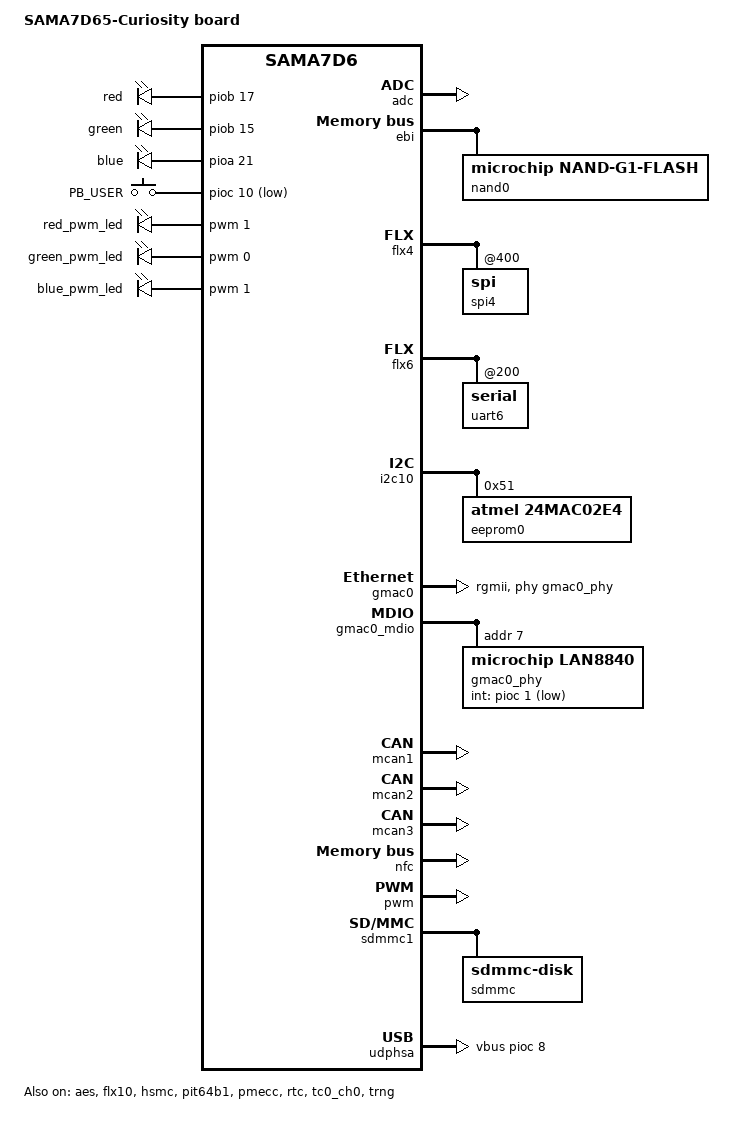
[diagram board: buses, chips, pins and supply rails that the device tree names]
/*
 * Copyright (C) 2025-2026 Microchip Technology Inc. and its subsidiaries
 *
 * SPDX-License-Identifier: Apache-2.0
 *
 */

/dts-v1/;
#include <common/freq.h>
#include <zephyr/dt-bindings/adc/adc.h>
#include <zephyr/dt-bindings/gpio/gpio.h>
#include <zephyr/dt-bindings/input/input-event-codes.h>
#include <zephyr/dt-bindings/mfd/mfd_mchp_sam_flexcom.h>
#include <zephyr/dt-bindings/pwm/pwm.h>
#include <dt-bindings/sam/sama7d6/sama7d65/sama7d65-pinctrl.h>
#include <microchip/sam/sama7/sama7d6/sama7d65.dtsi>

/ {
	model = "SAMA7D65-Curiosity board";
	compatible = "microchip,sama7d65curiosity", "microchip,sama7d6", "microchip,sama7";

	aliases {
		adc0 = &adc;
		eeprom-0 = &eeprom0;
		led0 = &led_blue;
		pwm-0 = &pwm;
		pwm-led0 = &green_pwm_led;
		pwm-test = &pwm;
		sdhc0 = &sdmmc1;
		sw0 = &button_user;
	};

	chosen {
		zephyr,sram = &ddram;
		zephyr,canbus = &mcan1;
		zephyr,console = &uart6;
		zephyr,shell-uart = &uart6;
		zephyr,system-timer = &pit64b0;
	};

	clocks {
		main_xtal {
			clock-frequency = <DT_FREQ_M(24)>;
		};

		slow_xtal {
			clock-frequency = <32768>;
		};
	};

	ddram: ddram@60000000 {
		compatible = "ddram";
		reg = <0x60000000 DT_SIZE_M(1024)>;
	};

	leds {
		compatible = "gpio-leds";
		status = "okay";

		led_red: red {
			label = "red";
			gpios = <&piob 17 GPIO_ACTIVE_HIGH>;
		};

		led_green: green {
			label = "green";
			gpios = <&piob 15 GPIO_ACTIVE_HIGH>;
		};

		led_blue: blue {
			label = "blue";
			gpios = <&pioa 21 GPIO_ACTIVE_HIGH>;
		};
	};

	gpio_keys {
		compatible = "gpio-keys";
		status = "okay";

		button_user: button_sw2 {
			label = "PB_USER";
			gpios = <&pioc 10 GPIO_ACTIVE_LOW>;
			zephyr,code = <INPUT_KEY_0>;
		};
	};

	pwmleds: pwmleds {
		compatible = "pwm-leds";

		red_pwm_led: red_pwm_led {
			pwms = <&pwm 1 PWM_MSEC(20) PWM_POLARITY_INVERTED>;
		};

		green_pwm_led: green_pwm_led {
			pwms = <&pwm 0 PWM_MSEC(20) PWM_POLARITY_INVERTED>;
		};

		blue_pwm_led: blue_pwm_led {
			pwms = <&pwm 1 PWM_MSEC(20) PWM_POLARITY_INVERTED>;
		};
	};
};

&adc {
	pinctrl-names = "default";
	pinctrl-0 = <&pinctrl_mikrobus_an_default>;
	status = "okay";
};

&aes {
	status = "okay";
};

&ebi {
	pinctrl-names = "default";
	pinctrl-0 = <&pinctrl_nand_default>;
	status = "okay";

	cs0: cs@40000000 {
		reg = <0x0 0x0 0x800000>;
		smc-tdf-mode;
		smc-write-mode = "nwe";
		smc-read-mode = "nrd";
		smc-bus-width = "8-bit";
		smc-setup-timing = <4 0 0 0>;
		smc-pulse-timing = <10 20 10 20>;
		smc-cycle-timing = <20 20>;
		nfc-timings-nfsel;
		nfc-timings-twb = <8>;
		nfc-timings-trr = <8>;
		nfc-timings-tar = <5>;
		nfc-timings-tadl = <15>;
		nfc-timings-tclr = <4>;
		status = "okay";

		nand0: nandflash {
			compatible = "microchip,nand-g1-flash";
			nand-controller = <&nfc>;
			cs-gpios = <&pioa 13 GPIO_ACTIVE_LOW>;
			status = "okay";

			/* Micron MT29F4G08ABAEA 512MB */
			nand_id0: mt29f4g08abaea {
				nand-id = [2c dc];
				nand-page-size = <4096>;
				nand-oob-size = <224>;
				nand-block-pages = <64>;
				nand-block-count = <2048>;
				nand-ecc-bits = <8>;
				nand-ecc-sector = <512>;
			};

			/* Winbond W29N01HV 128MB */
			nand_id1: w29n01hv {
				nand-id = [ef f1];
				nand-page-size = <2048>;
				nand-oob-size = <64>;
				nand-block-pages = <64>;
				nand-block-count = <1024>;
				nand-ecc-bits = <1>;
				nand-ecc-sector = <512>;
			};

			/* Macronix MX30LF4G28AD 512MB */
			nand_id2: mx30lf4g28ad {
				nand-id = [c2 dc];
				nand-page-size = <4096>;
				nand-oob-size = <256>;
				nand-block-pages = <64>;
				nand-block-count = <2048>;
				nand-ecc-bits = <8>;
				nand-ecc-sector = <512>;
			};
		};
	};
};

&flx4 {
	mchp,flexcom-mode = <SAM_FLEXCOM_MODE_SPI>;
	status = "okay";

	spi4: spi@400 {
		pinctrl-names = "default";
		pinctrl-0 = <&pinctrl_spi4_default>;
		cs-gpios = <&pioa 15 GPIO_ACTIVE_LOW>, <&pioa 14 GPIO_ACTIVE_LOW>;
		status = "okay";
	};
};

&flx6 {
	mchp,flexcom-mode = <SAM_FLEXCOM_MODE_USART>;
	status = "okay";

	uart6: serial@200 {
		current-speed = <115200>;
		pinctrl-0 = <&pinctrl_uart6_default>;
		pinctrl-names = "default";
		status = "okay";
	};
};

&flx10 {
	mchp,flexcom-mode = <SAM_FLEXCOM_MODE_TWI>;
	status = "okay";

	i2c10: i2c10@600 {
		pinctrl-0 = <&pinctrl_i2c10_default>;
		pinctrl-names = "default";
		status = "okay";

		eeprom0: eeprom0@51 {
			compatible = "atmel,24mac02e4", "atmel,at24";
			reg = <0x51>;
			address-width = <8>;
			pagesize = <16>;
			size = <256>;
			timeout = <5>;
			status = "okay";

			nvmem-layout {
				compatible = "fixed-layout";
				#address-cells = <1>;
				#size-cells = <1>;

				eeprom0_eui48: eui48@fa {
					reg = <0xfa 6>;
					#nvmem-cell-cells = <0>;
				};
			};
		};
	};
};

&gmac0 {
	status = "okay";

	pinctrl-0 = <&pinctrl_gmac0_default>;
	pinctrl-names = "default";

	phy-connection-type = "rgmii";
	phy-handle = <&gmac0_phy>;

	nvmem-cells = <&eeprom0_eui48>;
	nvmem-cell-names = "mac_address";
};

&gmac0_mdio {
	status = "okay";

	pinctrl-0 = <&pinctrl_gmac0_mdio_default>;
	pinctrl-names = "default";

	gmac0_phy: ethernet-phy@7 {
		compatible = "microchip,lan8840";
		int-gpios = <&pioc 1 GPIO_ACTIVE_LOW>;
		microchip,rgmii-delay = "id";
		reg = <7>;
		status = "okay";
	};
};

&hsmc {
	status = "okay";
};

&mcan1 {
	status = "okay";
	pinctrl-0 = <&pinctrl_can1_default>;
	pinctrl-names = "default";
};

&mcan2 {
	status = "okay";
	pinctrl-0 = <&pinctrl_can2_default>;
	pinctrl-names = "default";
};

&mcan3 {
	status = "okay";
	pinctrl-0 = <&pinctrl_can3_default>;
	pinctrl-names = "default";
};

&nfc {
	status = "okay";
};

&pinctrl {
	pinctrl_can1_default: can1_default {
		group1 {
			pinmux = <PIN_PD10__CANTX1>,
				 <PIN_PD11__CANRX1>;
			bias-disable;
		};
	};

	pinctrl_can2_default: can2_default {
		group1 {
			pinmux = <PIN_PD12__CANTX2>,
				 <PIN_PD13__CANRX2>;
			bias-disable;
		};
	};

	pinctrl_can3_default: can3_default {
		group1 {
			pinmux = <PIN_PD14__CANTX3>,
				 <PIN_PD15__CANRX3>;
			bias-disable;
		};
	};

	pinctrl_gmac0_default: gmac0_default {
		group1 {
			pinmux = <PIN_PA26__G0_TX0>,
				 <PIN_PA27__G0_TX1>,
				 <PIN_PB4__G0_TX2>,
				 <PIN_PB5__G0_TX3>,
				 <PIN_PA29__G0_RX0>,
				 <PIN_PA30__G0_RX1>,
				 <PIN_PB2__G0_RX2>,
				 <PIN_PB6__G0_RX3>,
				 <PIN_PA25__G0_TXCTL>,
				 <PIN_PB3__G0_RXCK>,
				 <PIN_PA28__G0_RXCTL>;
			bias-disable;
		};

		gmac0_txck_default {
			pinmux = <PIN_PB1__G0_REFCK>;
			bias-pull-up;
		};
	};

	pinctrl_gmac0_mdio_default: gmac0_mdio_default {
		group1 {
			pinmux = <PIN_PA31__G0_MDC>,
				 <PIN_PB0__G0_MDIO>;
		};
	};

	pinctrl_i2c10_default: i2c10-default {
		group1 {
			pinmux = <PIN_PB19__FLEXCOM10_IO1>,
				 <PIN_PB20__FLEXCOM10_IO0>;
			bias-disable;
		};
	};

	pinctrl_mikrobus_an_default: pinctrl_mikrobus_an_default {
		mikrobus1_ad2 {
			pinmux = <PIN_PC5__GPIO>;
			bias-disable;
		};

		mikrobus2_ad8 {
			pinmux = <PIN_PC13__GPIO>;
			bias-disable;
		};
	};

	pinctrl_pwm_default: pinctrl_pwm_default {
		mikrobus1_pwm0 {
			pinmux = <PIN_PB15__PWML0>;
			bias-disable;
		};

		mikrobus2_pwm1 {
			pinmux = <PIN_PB17__PWML1>;
			bias-disable;
		};
	};

	pinctrl_nand_default: nand-default {
		group1 {
			pinmux = <PIN_PA0__NWER0>,
				 <PIN_PA1__A21>,
				 <PIN_PA2__A22>,
				 <PIN_PA3__D0>,
				 <PIN_PA4__D1>,
				 <PIN_PA5__D4>,
				 <PIN_PA6__D5>,
				 <PIN_PA7__D6>,
				 <PIN_PA8__D7>,
				 <PIN_PA9__D2>,
				 <PIN_PA10__D3>,
				 <PIN_PA11__NANDRDY>,
				 <PIN_PA12__NRD>,
				 <PIN_PA13__GPIO>;
			bias-disable;
		};
	};

	pinctrl_sdmmc1_default: sdmmc1-default {
		cmd-ck-data {
			pinmux = <PIN_PB22__SDMMC1_CMD>,
				 <PIN_PB23__SDMMC1_CK>,
				 <PIN_PB24__SDMMC1_DAT0>,
				 <PIN_PB25__SDMMC1_DAT1>,
				 <PIN_PB26__SDMMC1_DAT2>,
				 <PIN_PB27__SDMMC1_DAT3>;
			bias-disable;
		};

		cd-wp-rstn-vddsel {
			pinmux = <PIN_PB21__SDMMC1_RSTN>,
				 <PIN_PB28__SDMMC1_WP>,
				 <PIN_PB29__SDMMC1_CD>,
				 <PIN_PB30__SDMMC1_1V8SEL>;
			bias-disable;
		};
	};

	pinctrl_spi4_default: spi4_default {
		group1 {
			pinmux = <PIN_PA18__FLEXCOM4_IO0>,
				 <PIN_PA17__FLEXCOM4_IO1>,
				 <PIN_PA16__FLEXCOM4_IO2>;
			bias-disable;
		};

		cs_pins {
			pinmux = <PIN_PA15__GPIO>, /* GPIO CS 0 */
				 <PIN_PA14__GPIO>; /* GPIO CS 1 */
			bias-pull-up;
		};
	};

	pinctrl_uart6_default: uart6-default {
		group1 {
			pinmux = <PIN_PD18__FLEXCOM6_IO0>,
				 <PIN_PD19__FLEXCOM6_IO1>;
			bias-disable;
		};
	};

	pinctrl_usba_vbus_det: usba_vbus_det {
		pinmux = <PIN_PC8__GPIO>;
		bias-disable;
	};
};

&pit64b0 {
	clock-frequency = <DT_FREQ_M(10)>;
};

&pwm {
	clka-prescaler = <1024>;
	clka-divide-factor = <1>;
	pinctrl-0 = <&pinctrl_pwm_default>;
	pinctrl-names = "default";
	status = "okay";
};

&pit64b1 {
	top-alarm;
	prescaler-period = <15>;
	status = "okay";
};

&pmecc {
	status = "okay";
};

&rtc {
	status = "okay";
};

&tc0_ch0 {
	status = "okay";
};

&sdmmc1 {
	pinctrl-names = "default";
	pinctrl-0 = <&pinctrl_sdmmc1_default>;
	max-bus-freq = <DT_FREQ_M(208)>;
	no-1-8-v;
	rstn-power-en;
	auto-cmd23;
	status = "okay";

	sdmmc {
		compatible = "zephyr,sdmmc-disk";
		disk-name = "SD";
		status = "okay";
	};
};

&trng {
	status = "okay";
};

zephyr_udc0: &udphsa {
	vbus-gpios = <&pioc 8 GPIO_ACTIVE_HIGH>;
	pinctrl-names = "default";
	pinctrl-0 = <&pinctrl_usba_vbus_det>;
	status = "okay";
};
